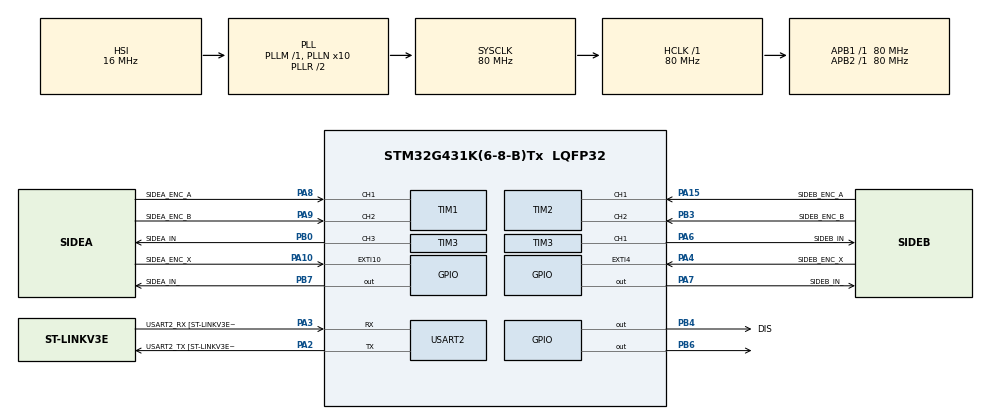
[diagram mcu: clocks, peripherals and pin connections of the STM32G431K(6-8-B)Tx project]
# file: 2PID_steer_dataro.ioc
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Mcu.Family=STM32G4
Mcu.Name=STM32G431K(6-8-B)Tx
Mcu.Package=LQFP32
NVIC.EXTI15_10_IRQn=true\:0\:0\:false\:false\:true\:true\:true
NVIC.EXTI4_IRQn=true\:0\:0\:false\:false\:true\:true\:true
NVIC.PriorityGroup=NVIC_PRIORITYGROUP_4
NVIC.TIM1_TRG_COM_TIM17_IRQn=true\:15\:0\:false\:false\:true\:false\:true
NVIC.TIM4_IRQn=true\:0\:0\:false\:false\:true\:true\:true
NVIC.TimeBase=TIM1_TRG_COM_TIM17_IRQn
NVIC.TimeBaseIP=TIM17
NVIC.USART2_IRQn=true\:0\:0\:false\:false\:true\:true\:true
PA10.GPIO_Label=SIDEA_ENC_X
PA10.Signal=GPXTI10
PA13.GPIO_Label=T_SWDIO
PA13.Mode=Serial_Wire
PA13.Signal=SYS_JTMS-SWDIO
PA14.GPIO_Label=T_SWCLK
PA14.Mode=Serial_Wire
PA14.Signal=SYS_JTCK-SWCLK
PA15.GPIO_Label=SIDEB_ENC_A
PA15.GPIO_PuPd=GPIO_PULLDOWN
PA15.Signal=S_TIM2_CH1
PA2.GPIO_Label=USART2_TX [ST-LINKV3E_VCP_RX]
PA2.Mode=Asynchronous
PA2.Signal=USART2_TX
PA3.GPIO_Label=USART2_RX [ST-LINKV3E_VCP_TX]
PA3.Mode=Asynchronous
PA3.Signal=USART2_RX
PA4.GPIO_Label=SIDEB_ENC_X
PA4.Signal=GPXTI4
PA6.GPIO_Label=SIDEB_IN
PA6.Signal=S_TIM3_CH1
PA7.GPIO_Label=SIDEB_IN_
PA7.Signal=GPIO_Output
PA8.GPIO_Label=SIDEA_ENC_A
PA8.Signal=S_TIM1_CH1
PA9.GPIO_Label=SIDEA_ENC_B
PA9.Signal=S_TIM1_CH2
PB0.GPIO_Label=SIDEA_IN
PB0.Signal=S_TIM3_CH3
PB3.GPIO_Label=SIDEB_ENC_B
PB3.Signal=S_TIM2_CH2
PB4.GPIO_Label=DIS
PB4.Signal=GPIO_Output
PB6.Signal=GPIO_Output
PB7.GPIO_Label=SIDEA_IN_
PB7.Signal=GPIO_Output
ProjectManager.HeapSize=0x200
ProjectManager.StackSize=0x400
ProjectManager.TargetToolchain=STM32CubeIDE
RCC.ADC12Freq_Value=80000000
RCC.AHBFreq_Value=80000000
RCC.APB1Freq_Value=80000000
RCC.APB1TimFreq_Value=80000000
RCC.APB2Freq_Value=80000000
RCC.APB2TimFreq_Value=80000000
RCC.CortexFreq_Value=80000000
RCC.EXTERNAL_CLOCK_VALUE=12288000
RCC.HCLKFreq_Value=80000000
RCC.HSE_VALUE=8000000
RCC.HSI48_VALUE=48000000
RCC.HSI_VALUE=16000000
RCC.LSE_VALUE=32768
RCC.PLLN=10
RCC.SYSCLKFreq_VALUE=80000000
RCC.SYSCLKSource=RCC_SYSCLKSOURCE_PLLCLK
RCC.USBFreq_Value=80000000
RCC.VCOOutputFreq_Value=160000000
SH.S_TIM1_CH1.0=TIM1_CH1,Encoder_Interface
SH.S_TIM1_CH2.0=TIM1_CH2,Encoder_Interface
SH.S_TIM2_CH1.0=TIM2_CH1,Encoder_Interface
SH.S_TIM2_CH2.0=TIM2_CH2,Encoder_Interface
SH.S_TIM3_CH1.0=TIM3_CH1,PWM Generation1 CH1
SH.S_TIM3_CH3.0=TIM3_CH3,PWM Generation3 CH3
TIM1.EncoderMode=TIM_ENCODERMODE_TI12
TIM2.EncoderMode=TIM_ENCODERMODE_CLOCKPLUSDIRECTION_X1
TIM3.Channel-PWM\ Generation1\ CH1=TIM_CHANNEL_1
TIM3.Channel-PWM\ Generation3\ CH3=TIM_CHANNEL_3
TIM3.PeriodNoDither=1000-1
TIM3.Prescaler=8-1
TIM4.PeriodNoDither=1000-1
TIM4.Prescaler=80-1
USART2.VirtualMode-Asynchronous=VM_ASYNC
USART2.WordLength=WORDLENGTH_8B
VP_SYS_VS_DBSignals.Mode=DisableDeadBatterySignals
VP_SYS_VS_tim17.Mode=TIM17
VP_TIM3_VS_ClockSourceINT.Mode=Internal
VP_TIM4_VS_ClockSourceINT.Mode=Internal
board=NUCLEO-G431KB

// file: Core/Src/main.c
/* USER CODE BEGIN Header */
/**
  ******************************************************************************
  * @file           : main.c
  * @brief          : Main program body
  ******************************************************************************
  * @attention
  *
  * <h2><center>&copy; Copyright (c) 2023 STMicroelectronics.
  * All rights reserved.</center></h2>
  *
  * This software component is licensed by ST under BSD 3-Clause license,
  * the "License"; You may not use this file except in compliance with the
  * License. You may obtain a copy of the License at:
  *                        opensource.org/licenses/BSD-3-Clause
  *
  ******************************************************************************
  */
/* USER CODE END Header */
#include "main.h"

/* USER CODE BEGIN Includes */
#include "stdio.h"
#include "math.h"
#include <stdlib.h>
#include "PID.h"
/* USER CODE END Includes */

/* USER CODE BEGIN PD */
#define ENCODER_PR_STEER 8192
#define ENCODER_PR_WHEEL 2048

#define FILTER_C 0.85f

#define __abs(x) (((x) > 0) ? (x) : (-1*x))
#define PI 3.14159f
/* USER CODE END PD */

TIM_HandleTypeDef htim1;
TIM_HandleTypeDef htim2;
TIM_HandleTypeDef htim3;
TIM_HandleTypeDef htim4;

UART_HandleTypeDef huart2;

/* USER CODE BEGIN PV */
PIDparamshandleTypeDef hpidSteer = {0};
PIDparamshandleTypeDef hpidWheel = {0};

int16_t enc_buff_A;
int16_t enc_buff_B;

#define BUFF_LEN 5
uint8_t UART_BUFF[BUFF_LEN];

float steer_angle = 0;
float steer_angle_target = 0;
int steer_duty = 0;

float speed = 0;
float speed_target = 0;
int speed_duty = 0;

/* USER CODE END PV */

void SystemClock_Config(void);
static void MX_GPIO_Init(void);
static void MX_USART2_UART_Init(void);
static void MX_TIM1_Init(void);
static void MX_TIM2_Init(void);
static void MX_TIM3_Init(void);
static void MX_TIM4_Init(void);

int main(void)
{
  /* USER CODE BEGIN 1 */
  setbuf(stdout, NULL);
  /* USER CODE END 1 */

  /* MCU Configuration--------------------------------------------------------*/

  /* Reset of all peripherals, Initializes the Flash interface and the Systick. */
  HAL_Init();

  /* Configure the system clock */
  SystemClock_Config();

  /* Initialize all configured peripherals */
  MX_GPIO_Init();
  MX_USART2_UART_Init();
  MX_TIM1_Init();
  MX_TIM2_Init();
  MX_TIM3_Init();
  MX_TIM4_Init();
  /* USER CODE BEGIN 2 */
  HAL_TIM_Encoder_Start(&htim1, TIM_CHANNEL_ALL);
  HAL_TIM_Encoder_Start(&htim2, TIM_CHANNEL_ALL);
  HAL_TIM_PWM_Start(&htim3, TIM_CHANNEL_1);
  HAL_TIM_PWM_Start(&htim3, TIM_CHANNEL_2);
  HAL_TIM_PWM_Start(&htim3, TIM_CHANNEL_3);
  HAL_TIM_PWM_Start(&htim3, TIM_CHANNEL_4);
  HAL_TIM_Base_Start_IT(&htim4);
  HAL_UART_Receive_IT(&huart2, UART_BUFF, BUFF_LEN);

  SETPIDGAIN(&hpidSteer, 78.25f, 14.25f, 7.50f);
  SETPIDGAIN(&hpidWheel, 0.001f, 0.05f, 0);
  /* USER CODE END 2 */

  /* Infinite loop */
  /* USER CODE BEGIN WHILE */
  while (1)
  {
    printf("%.3f, %.3f, %d\r\n", steer_angle, speed, speed_duty);
    HAL_Delay(10);
    /* USER CODE END WHILE */

  }
}

void SystemClock_Config(void)
{
  RCC_OscInitTypeDef RCC_OscInitStruct = {0};
  RCC_ClkInitTypeDef RCC_ClkInitStruct = {0};
  RCC_PeriphCLKInitTypeDef PeriphClkInit = {0};

  /** Configure the main internal regulator output voltage
  */
  HAL_PWREx_ControlVoltageScaling(PWR_REGULATOR_VOLTAGE_SCALE1);
  /** Initializes the RCC Oscillators according to the specified parameters
  * in the RCC_OscInitTypeDef structure.
  */
  RCC_OscInitStruct.OscillatorType = RCC_OSCILLATORTYPE_HSI;
  RCC_OscInitStruct.HSIState = RCC_HSI_ON;
  RCC_OscInitStruct.HSICalibrationValue = RCC_HSICALIBRATION_DEFAULT;
  RCC_OscInitStruct.PLL.PLLState = RCC_PLL_ON;
  RCC_OscInitStruct.PLL.PLLSource = RCC_PLLSOURCE_HSI;
  RCC_OscInitStruct.PLL.PLLM = RCC_PLLM_DIV1;
  RCC_OscInitStruct.PLL.PLLN = 10;
  RCC_OscInitStruct.PLL.PLLP = RCC_PLLP_DIV2;
  RCC_OscInitStruct.PLL.PLLQ = RCC_PLLQ_DIV2;
  RCC_OscInitStruct.PLL.PLLR = RCC_PLLR_DIV2;
  if (HAL_RCC_OscConfig(&RCC_OscInitStruct) != HAL_OK)
  {
    Error_Handler();
  }
  /** Initializes the CPU, AHB and APB buses clocks
  */
  RCC_ClkInitStruct.ClockType = RCC_CLOCKTYPE_HCLK|RCC_CLOCKTYPE_SYSCLK
                              |RCC_CLOCKTYPE_PCLK1|RCC_CLOCKTYPE_PCLK2;
  RCC_ClkInitStruct.SYSCLKSource = RCC_SYSCLKSOURCE_PLLCLK;
  RCC_ClkInitStruct.AHBCLKDivider = RCC_SYSCLK_DIV1;
  RCC_ClkInitStruct.APB1CLKDivider = RCC_HCLK_DIV1;
  RCC_ClkInitStruct.APB2CLKDivider = RCC_HCLK_DIV1;

  if (HAL_RCC_ClockConfig(&RCC_ClkInitStruct, FLASH_LATENCY_2) != HAL_OK)
  {
    Error_Handler();
  }
  /** Initializes the peripherals clocks
  */
  PeriphClkInit.PeriphClockSelection = RCC_PERIPHCLK_USART2;
  PeriphClkInit.Usart2ClockSelection = RCC_USART2CLKSOURCE_PCLK1;
  if (HAL_RCCEx_PeriphCLKConfig(&PeriphClkInit) != HAL_OK)
  {
    Error_Handler();
  }
}

static void MX_TIM1_Init(void)
{

  TIM_Encoder_InitTypeDef sConfig = {0};
  TIM_MasterConfigTypeDef sMasterConfig = {0};

  htim1.Instance = TIM1;
  htim1.Init.Prescaler = 0;
  htim1.Init.CounterMode = TIM_COUNTERMODE_UP;
  htim1.Init.Period = 65535;
  htim1.Init.ClockDivision = TIM_CLOCKDIVISION_DIV1;
  htim1.Init.RepetitionCounter = 0;
  htim1.Init.AutoReloadPreload = TIM_AUTORELOAD_PRELOAD_DISABLE;
  sConfig.EncoderMode = TIM_ENCODERMODE_TI12;
  sConfig.IC1Polarity = TIM_ICPOLARITY_RISING;
  sConfig.IC1Selection = TIM_ICSELECTION_DIRECTTI;
  sConfig.IC1Prescaler = TIM_ICPSC_DIV1;
  sConfig.IC1Filter = 0;
  sConfig.IC2Polarity = TIM_ICPOLARITY_RISING;
  sConfig.IC2Selection = TIM_ICSELECTION_DIRECTTI;
  sConfig.IC2Prescaler = TIM_ICPSC_DIV1;
  sConfig.IC2Filter = 0;
  if (HAL_TIM_Encoder_Init(&htim1, &sConfig) != HAL_OK)
  {
    Error_Handler();
  }
  sMasterConfig.MasterOutputTrigger = TIM_TRGO_RESET;
  sMasterConfig.MasterOutputTrigger2 = TIM_TRGO2_RESET;
  sMasterConfig.MasterSlaveMode = TIM_MASTERSLAVEMODE_DISABLE;
  if (HAL_TIMEx_MasterConfigSynchronization(&htim1, &sMasterConfig) != HAL_OK)
  {
    Error_Handler();
  }

}

static void MX_TIM2_Init(void)
{

  TIM_Encoder_InitTypeDef sConfig = {0};
  TIM_MasterConfigTypeDef sMasterConfig = {0};

  htim2.Instance = TIM2;
  htim2.Init.Prescaler = 0;
  htim2.Init.CounterMode = TIM_COUNTERMODE_UP;
  htim2.Init.Period = 4.294967295E9;
  htim2.Init.ClockDivision = TIM_CLOCKDIVISION_DIV1;
  htim2.Init.AutoReloadPreload = TIM_AUTORELOAD_PRELOAD_DISABLE;
  sConfig.EncoderMode = TIM_ENCODERMODE_CLOCKPLUSDIRECTION_X1;
  sConfig.IC1Polarity = TIM_ICPOLARITY_RISING;
  sConfig.IC1Selection = TIM_ICSELECTION_DIRECTTI;
  sConfig.IC1Prescaler = TIM_ICPSC_DIV1;
  sConfig.IC1Filter = 0;
  sConfig.IC2Polarity = TIM_ICPOLARITY_RISING;
  sConfig.IC2Selection = TIM_ICSELECTION_DIRECTTI;
  sConfig.IC2Prescaler = TIM_ICPSC_DIV1;
  sConfig.IC2Filter = 0;
  if (HAL_TIM_Encoder_Init(&htim2, &sConfig) != HAL_OK)
  {
    Error_Handler();
  }
  sMasterConfig.MasterOutputTrigger = TIM_TRGO_RESET;
  sMasterConfig.MasterSlaveMode = TIM_MASTERSLAVEMODE_DISABLE;
  if (HAL_TIMEx_MasterConfigSynchronization(&htim2, &sMasterConfig) != HAL_OK)
  {
    Error_Handler();
  }

}

static void MX_TIM3_Init(void)
{

  TIM_ClockConfigTypeDef sClockSourceConfig = {0};
  TIM_MasterConfigTypeDef sMasterConfig = {0};
  TIM_OC_InitTypeDef sConfigOC = {0};

  htim3.Instance = TIM3;
  htim3.Init.Prescaler = 8-1;
  htim3.Init.CounterMode = TIM_COUNTERMODE_UP;
  htim3.Init.Period = 999;
  htim3.Init.ClockDivision = TIM_CLOCKDIVISION_DIV1;
  htim3.Init.AutoReloadPreload = TIM_AUTORELOAD_PRELOAD_DISABLE;
  if (HAL_TIM_Base_Init(&htim3) != HAL_OK)
  {
    Error_Handler();
  }
  sClockSourceConfig.ClockSource = TIM_CLOCKSOURCE_INTERNAL;
  if (HAL_TIM_ConfigClockSource(&htim3, &sClockSourceConfig) != HAL_OK)
  {
    Error_Handler();
  }
  if (HAL_TIM_PWM_Init(&htim3) != HAL_OK)
  {
    Error_Handler();
  }
  sMasterConfig.MasterOutputTrigger = TIM_TRGO_RESET;
  sMasterConfig.MasterSlaveMode = TIM_MASTERSLAVEMODE_DISABLE;
  if (HAL_TIMEx_MasterConfigSynchronization(&htim3, &sMasterConfig) != HAL_OK)
  {
    Error_Handler();
  }
  sConfigOC.OCMode = TIM_OCMODE_PWM1;
  sConfigOC.Pulse = 0;
  sConfigOC.OCPolarity = TIM_OCPOLARITY_HIGH;
  sConfigOC.OCFastMode = TIM_OCFAST_DISABLE;
  if (HAL_TIM_PWM_ConfigChannel(&htim3, &sConfigOC, TIM_CHANNEL_1) != HAL_OK)
  {
    Error_Handler();
  }
  if (HAL_TIM_PWM_ConfigChannel(&htim3, &sConfigOC, TIM_CHANNEL_3) != HAL_OK)
  {
    Error_Handler();
  }
  HAL_TIM_MspPostInit(&htim3);

}

static void MX_TIM4_Init(void)
{

  TIM_ClockConfigTypeDef sClockSourceConfig = {0};
  TIM_MasterConfigTypeDef sMasterConfig = {0};

  htim4.Instance = TIM4;
  htim4.Init.Prescaler = 80-1;
  htim4.Init.CounterMode = TIM_COUNTERMODE_UP;
  htim4.Init.Period = 999;
  htim4.Init.ClockDivision = TIM_CLOCKDIVISION_DIV1;
  htim4.Init.AutoReloadPreload = TIM_AUTORELOAD_PRELOAD_DISABLE;
  if (HAL_TIM_Base_Init(&htim4) != HAL_OK)
  {
    Error_Handler();
  }
  sClockSourceConfig.ClockSource = TIM_CLOCKSOURCE_INTERNAL;
  if (HAL_TIM_ConfigClockSource(&htim4, &sClockSourceConfig) != HAL_OK)
  {
    Error_Handler();
  }
  sMasterConfig.MasterOutputTrigger = TIM_TRGO_RESET;
  sMasterConfig.MasterSlaveMode = TIM_MASTERSLAVEMODE_DISABLE;
  if (HAL_TIMEx_MasterConfigSynchronization(&htim4, &sMasterConfig) != HAL_OK)
  {
    Error_Handler();
  }

}

static void MX_USART2_UART_Init(void)
{

  huart2.Instance = USART2;
  huart2.Init.BaudRate = 115200;
  huart2.Init.WordLength = UART_WORDLENGTH_8B;
  huart2.Init.StopBits = UART_STOPBITS_1;
  huart2.Init.Parity = UART_PARITY_NONE;
  huart2.Init.Mode = UART_MODE_TX_RX;
  huart2.Init.HwFlowCtl = UART_HWCONTROL_NONE;
  huart2.Init.OverSampling = UART_OVERSAMPLING_16;
  huart2.Init.OneBitSampling = UART_ONE_BIT_SAMPLE_DISABLE;
  huart2.Init.ClockPrescaler = UART_PRESCALER_DIV1;
  huart2.AdvancedInit.AdvFeatureInit = UART_ADVFEATURE_NO_INIT;
  if (HAL_UART_Init(&huart2) != HAL_OK)
  {
    Error_Handler();
  }
  if (HAL_UARTEx_SetTxFifoThreshold(&huart2, UART_TXFIFO_THRESHOLD_1_8) != HAL_OK)
  {
    Error_Handler();
  }
  if (HAL_UARTEx_SetRxFifoThreshold(&huart2, UART_RXFIFO_THRESHOLD_1_8) != HAL_OK)
  {
    Error_Handler();
  }
  if (HAL_UARTEx_DisableFifoMode(&huart2) != HAL_OK)
  {
    Error_Handler();
  }

}

static void MX_GPIO_Init(void)
{
  GPIO_InitTypeDef GPIO_InitStruct = {0};

  /* GPIO Ports Clock Enable */
  __HAL_RCC_GPIOA_CLK_ENABLE();
  __HAL_RCC_GPIOB_CLK_ENABLE();

  /*Configure GPIO pin Output Level */
  HAL_GPIO_WritePin(SIDEB_IN__GPIO_Port, SIDEB_IN__Pin, GPIO_PIN_RESET);

  /*Configure GPIO pin Output Level */
  HAL_GPIO_WritePin(GPIOB, DIS_Pin|GPIO_PIN_6|SIDEA_IN__Pin, GPIO_PIN_RESET);

  /*Configure GPIO pins : SIDEB_ENC_X_Pin SIDEA_ENC_X_Pin */
  GPIO_InitStruct.Pin = SIDEB_ENC_X_Pin|SIDEA_ENC_X_Pin;
  GPIO_InitStruct.Mode = GPIO_MODE_IT_RISING;
  GPIO_InitStruct.Pull = GPIO_NOPULL;
  HAL_GPIO_Init(GPIOA, &GPIO_InitStruct);

  /*Configure GPIO pin : SIDEB_IN__Pin */
  GPIO_InitStruct.Pin = SIDEB_IN__Pin;
  GPIO_InitStruct.Mode = GPIO_MODE_OUTPUT_PP;
  GPIO_InitStruct.Pull = GPIO_NOPULL;
  GPIO_InitStruct.Speed = GPIO_SPEED_FREQ_LOW;
  HAL_GPIO_Init(SIDEB_IN__GPIO_Port, &GPIO_InitStruct);

  /*Configure GPIO pins : DIS_Pin PB6 SIDEA_IN__Pin */
  GPIO_InitStruct.Pin = DIS_Pin|GPIO_PIN_6|SIDEA_IN__Pin;
  GPIO_InitStruct.Mode = GPIO_MODE_OUTPUT_PP;
  GPIO_InitStruct.Pull = GPIO_NOPULL;
  GPIO_InitStruct.Speed = GPIO_SPEED_FREQ_LOW;
  HAL_GPIO_Init(GPIOB, &GPIO_InitStruct);

  /* EXTI interrupt init*/
  HAL_NVIC_SetPriority(EXTI4_IRQn, 0, 0);
  HAL_NVIC_EnableIRQ(EXTI4_IRQn);

  HAL_NVIC_SetPriority(EXTI15_10_IRQn, 0, 0);
  HAL_NVIC_EnableIRQ(EXTI15_10_IRQn);

}

/* USER CODE BEGIN 4 */
int _write(int file, char *ptr, int len) {
  HAL_UART_Transmit(&huart2, (uint8_t *)ptr, len, 10);
  return len;
}

int wheel_Feedfoward(float target) {
//  return (int)(target / 1885.0f * 999.0f);
  return (int)(target / 1885.0f * 990.0f);
//  return (int)target;
}

void HAL_GPIO_EXTI_Callback(uint16_t GPIO_Pin) {
  if (GPIO_Pin == GPIO_PIN_10) {
    //    do when SIDE A Encoder X phase detected
  }
  if (GPIO_Pin == GPIO_PIN_4) {
    //    do when SIDE B Encoder X phase detected
  }
}

// for testing
void HAL_UART_RxCpltCallback(UART_HandleTypeDef *huart) {
  if (huart->Instance == USART2) {
    float raw_message = atoff(UART_BUFF);
//    steer_angle_target = (int)(raw_message / 1000.0f);
//    speed_target = (float)(((int)raw_message) % 10000);
    speed_target = raw_message;
    printf("%f, %f\r\n", steer_angle_target, speed_target);
    HAL_UART_Receive_IT(&huart2, UART_BUFF, BUFF_LEN);
  }
}

/* USER CODE END 4 */

void HAL_TIM_PeriodElapsedCallback(TIM_HandleTypeDef *htim)
{
  if (htim->Instance == TIM17) {
    HAL_IncTick();
  }
  /* USER CODE BEGIN Callback 1 */
  if (htim->Instance == TIM4) {
    float dt = 0.001f;

    /* steering */
    enc_buff_A = __HAL_TIM_GET_COUNTER(&htim1);
    __HAL_TIM_SET_COUNTER(&htim1, 0);
    steer_angle += (float)enc_buff_A / (float)ENCODER_PR_STEER * 360.0f;
    steer_duty = calc_PID(&hpidSteer, steer_angle_target, steer_angle, dt);
    if (steer_duty > 990) {
      SETWINDUPFLAG(&hpidSteer, 1);
      steer_duty = 990;
    } else if (steer_duty < -990) {
      SETWINDUPFLAG(&hpidSteer, 1);
      steer_duty = -990;
    } else {
      SETWINDUPFLAG(&hpidSteer, 0);
    }
    if (steer_duty >= 0) {
      HAL_GPIO_WritePin(SIDEA_IN__GPIO_Port, SIDEA_IN__Pin, GPIO_PIN_SET);
    } else {
      HAL_GPIO_WritePin(SIDEA_IN__GPIO_Port, SIDEA_IN__Pin, GPIO_PIN_RESET);
    }
    __HAL_TIM_SET_COMPARE(&htim3, TIM_CHANNEL_3, __abs(steer_duty));

    /* wheel */
    enc_buff_B = __HAL_TIM_GET_COUNTER(&htim2);
    __HAL_TIM_SET_COUNTER(&htim2, 0);
    speed = speed * FILTER_C + (1 - FILTER_C) * ((float)enc_buff_B / ((float)ENCODER_PR_WHEEL)) / dt * 2 * PI;
    speed = __abs(speed);
    speed_duty = wheel_Feedfoward(speed_target) + calc_PID(&hpidWheel, speed_target, speed, dt);
//    speed_duty = wheel_Feedfoward(speed_target);

    if (speed_duty > 990) {
      SETWINDUPFLAG(&hpidWheel, 0);
      speed_duty = 990;
    } else if (speed_duty < -990) {
      SETWINDUPFLAG(&hpidWheel, 1);
      speed_duty = -990;
    } else {
      SETWINDUPFLAG(&hpidWheel, 1);
    }
    if (speed_duty >= 0) {
      HAL_GPIO_WritePin(SIDEB_IN__GPIO_Port, SIDEB_IN__Pin, GPIO_PIN_SET);
    } else {
      HAL_GPIO_WritePin(SIDEB_IN__GPIO_Port, SIDEB_IN__Pin, GPIO_PIN_RESET);
    }
    __HAL_TIM_SET_COMPARE(&htim3, TIM_CHANNEL_1, __abs(speed_duty));
//    __HAL_TIM_SET_COMPARE(&htim3, TIM_CHANNEL_1, 500);
  }
  /* USER CODE END Callback 1 */
}

void Error_Handler(void)
{
  __disable_irq();
  while (1)
  {
  }
}

/************************ (C) COPYRIGHT STMicroelectronics *****END OF FILE****/
